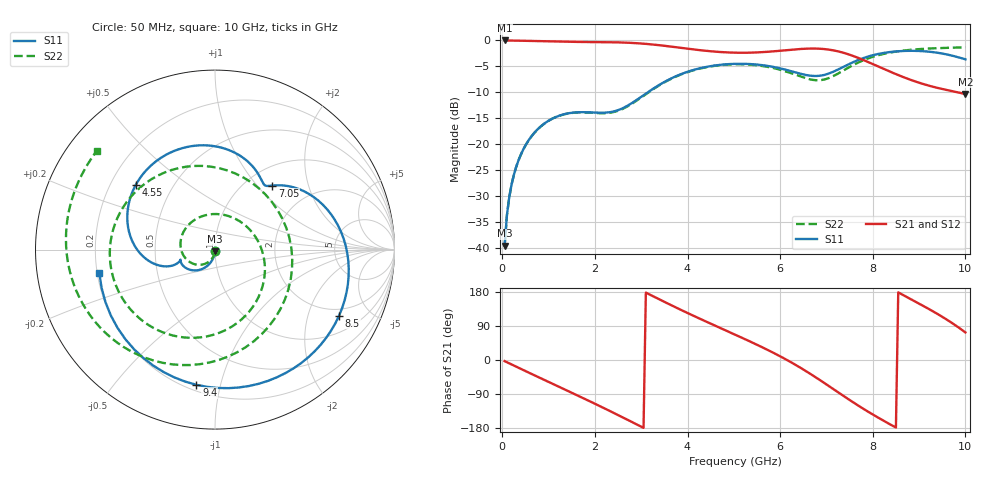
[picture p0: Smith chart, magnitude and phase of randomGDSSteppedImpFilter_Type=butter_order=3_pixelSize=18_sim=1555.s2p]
! freq	dB(S11)	phase(S11)	dB(S12)	phase(S12)
!  dB(S21)	phase(S21)	dB(S22)	phase(S22)
!S-par simulation data
#  GHz  S  DB  R 50
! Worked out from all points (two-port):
!   200 points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, 50 MHz to 10 GHz, reference 50 ohm
!   highest |S21| = -0.01 dB at 50 MHz (marker M1); lowest = -10.3 dB at 10 GHz (marker M2)
!   |S21| within 3 dB of the highest: start of sweep to 7.578 GHz
!   lowest |S11| = -39.7 dB at 50 MHz (marker M3), VSWR 1.02, Z = 50 - j1.04 ohm
!   |S11| at or under -10 dB: start of sweep to 3.144 GHz
!   |S22| runs from -39.7 to -1.3 dB; largest |S21 - S12| = 0
!   S11 on the Smith chart (normalised r, x): 50 MHz: 1.00, -0.02; 4.55 GHz: 0.31, +0.32; 7.05 GHz: 1.31, +1.21; 8.5 GHz: 1.68, -3.19; 9.4 GHz: 0.24, -0.84; 10 GHz: 0.21, -0.10
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0.05  -39.66 -91.0  -0.01 -3.0  -0.01 -3.0  -39.73 -92.9
0.1  -33.74 -94.3  -0.01 -5.9  -0.01 -5.9  -33.76 -96.6
0.2  -27.83 -99.7  -0.03 -11.8  -0.03 -11.8  -27.84 -103.8
0.5  -20.28 -114.3  -0.08 -29.2  -0.08 -29.2  -20.30 -125.1
1.15  -14.81 -142.3  -0.22 -66.5  -0.22 -66.5  -14.83 -172.0
1.75  -13.86 -160.3  -0.30 -100.8  -0.30 -100.8  -13.90 137.3
2.65  -12.87 -159.8  -0.42 -154.4  -0.42 -154.4  -13.00 29.4
3.4  -8.54 -170.3  -0.93 159.5  -0.93 159.5  -8.62 -52.1
4  -6.06 166.1  -1.60 124.0  -1.60 124.0  -6.12 -98.9
4.55  -4.89 141.0  -2.13 93.1  -2.13 93.1  -4.96 -134.9
5.05  -4.52 117.4  -2.37 65.6  -2.37 65.6  -4.61 -165.6
5.6  -4.76 91.4  -2.27 34.4  -2.27 34.4  -4.92 158.6
6.1  -5.61 69.7  -1.91 3.2  -1.91 3.2  -5.93 118.7
6.7  -6.85 53.3  -1.57 -40.3  -1.57 -40.3  -7.61 47.6
7.05  -6.40 48.1  -1.77 -68.6  -1.77 -68.6  -7.27 -6.3
7.7  -3.73 22.6  -3.42 -121.4  -3.42 -121.4  -4.21 -88.1
8.35  -2.26 -17.9  -5.94 -168.2  -5.94 -168.2  -2.38 -139.8
8.5  -2.12 -28.0  -6.51 -178.3  -6.51 -178.3  -2.16 -149.2
9  -2.04 -64.1  -8.17 148.9  -8.17 148.9  -1.68 -176.4
9.4  -2.38 -97.9  -9.17 121.3  -9.17 121.3  -1.49 165.0
9.7  -2.91 -129.1  -9.76 98.5  -9.76 98.5  -1.41 152.3
10  -3.65 -168.6  -10.35 72.8  -10.35 72.8  -1.33 140.2
